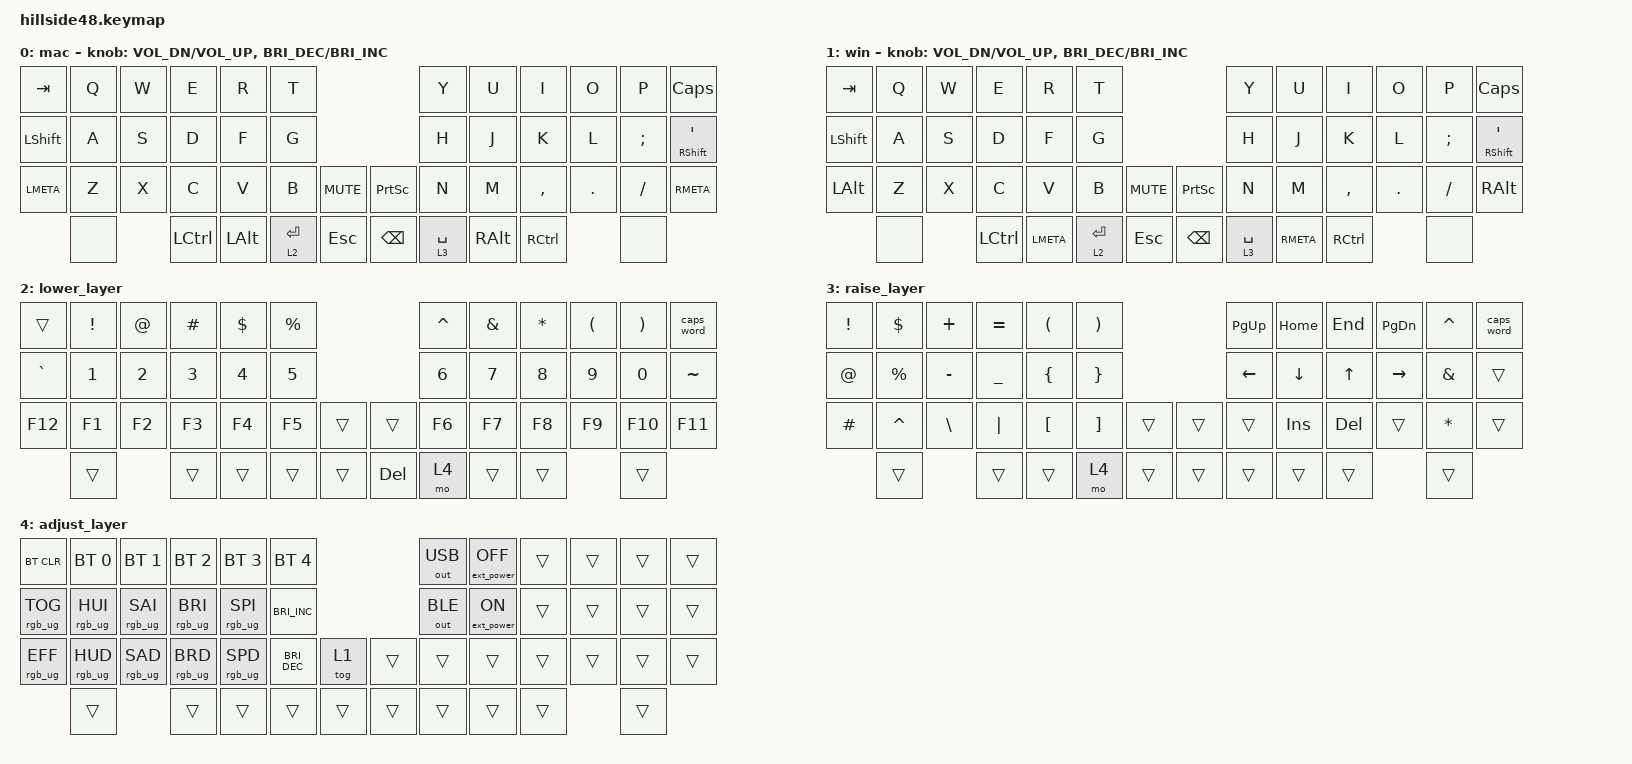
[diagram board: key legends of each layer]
#include <behaviors.dtsi>
#include <dt-bindings/zmk/keys.h>
#include <dt-bindings/zmk/bt.h>
#include <dt-bindings/zmk/ext_power.h>
#include <dt-bindings/zmk/outputs.h>
#include <dt-bindings/zmk/rgb.h>

&lt {
    tapping-term-ms = <120>;
};

&mt {
    tapping-term-ms = <150>;
};

/ {
    //behaviors {
    //    cap_dance: tap_dance_0 {
    //        compatible = "zmk,behavior-tap-dance";
    //        #binding-cells = <0>;
    //        tapping-term-ms = <350>;
    //        bindings = <&caps_word>, <&kp CAPS>;
    //    };
    //};

    keymap {
        compatible = "zmk,keymap";

        mac {
            /*
             * -------------------------------------------------------------------------------------------------------------------------------------
             * | TAB   |   Q   |   W   |   E   |   R   |   T   |-----------------------------------|   Y   |   U   |   I   |   O   |   P   | CAPS  |
             * | LSHIFT|   A   |   S   |   D   |   F   |   G   |-----------------------------------|   H   |   J   |   K   |   L   |   ;   |'(RSHIFT)|
             * | LMETA |   Z   |   X   |   C   |   V   |   B   | MUTE  |-------------------|PRTSCRN|   N   |   M   |   ,   |   .   |   /   | RMETA |
             * --------| none  |---------------| LCTRL | LALT  |RET(LOW)| ESC  |---| BSPC |SPC(RAI)| RALT  | RCTRL |-------| none  |----------------
             *
             * LOWER = layer tap SPACE(LOWER)
             * RAISE = layer tap BKSPC(RAISE)
             * '(RSHIFT) = mod tap QUOTE(SHIFT)
             */
            bindings = <
&kp TAB     &kp Q  &kp W  &kp E      &kp R     &kp T                                 &kp Y        &kp U     &kp I      &kp O    &kp P      &kp CAPS
&kp LSHIFT  &kp A  &kp S  &kp D      &kp F     &kp G                                 &kp H        &kp J     &kp K      &kp L    &kp SEMI   &mt RSHIFT SQT
&kp LMETA   &kp Z  &kp X  &kp C      &kp V     &kp B      &kp C_MUTE      &kp PSCRN  &kp N        &kp M     &kp COMMA  &kp DOT  &kp SLASH  &kp RMETA
            &none         &kp LCTRL  &kp LALT  &lt 2 RET  &kp ESC         &kp BSPC   &lt 3 SPACE  &kp RALT  &kp RCTRL           &none
            >;

            sensor-bindings = <&inc_dec_kp C_VOL_DN C_VOL_UP &inc_dec_kp C_BRI_DEC C_BRI_INC>;
        };

        win {
            /*
             * -------------------------------------------------------------------------------------------------------------------------------------
             * | TAB   |   Q   |   W   |   E   |   R   |   T   |-----------------------------------|   Y   |   U   |   I   |   O   |   P   | CAPS  |
             * | LSHIFT|   A   |   S   |   D   |   F   |   G   |-----------------------------------|   H   |   J   |   K   |   L   |   ;   |'(RSHIFT)|
             * | LALT  |   Z   |   X   |   C   |   V   |   B   |  MUTE  |-----------------|  PSCRN |   N   |   M   |   ,   |   .   |   /   | RALT  |
             * --------| none  |---------------| LCTRL | LMETA |RET(LOW)| ESC  |---| BSPC |SPC(RAI)| RMETA | RCTRL |-------| none  |----------------
             */
            bindings = <
&kp TAB     &kp Q  &kp W  &kp E      &kp R      &kp T                                 &kp Y        &kp U      &kp I      &kp O    &kp P      &kp CAPS
&kp LSHIFT  &kp A  &kp S  &kp D      &kp F      &kp G                                 &kp H        &kp J      &kp K      &kp L    &kp SEMI   &mt RSHIFT SQT
&kp LALT    &kp Z  &kp X  &kp C      &kp V      &kp B      &kp C_MUTE      &kp PSCRN  &kp N        &kp M      &kp COMMA  &kp DOT  &kp SLASH  &kp RALT
            &none         &kp LCTRL  &kp LMETA  &lt 2 RET  &kp ESC         &kp BSPC   &lt 3 SPACE  &kp RMETA  &kp RCTRL           &none
            >;

            sensor-bindings = <&inc_dec_kp C_VOL_DN C_VOL_UP &inc_dec_kp C_BRI_DEC C_BRI_INC>;
        };

        lower_layer {
            /*
             * -------------------------------------------------------------------------------------------------------------------------------------
             * | trans |   !   |   @   |   #   |   $   |   %   |-----------------------------------|   ^   |   &   |   *   |   (   |   )   |CAPWORD|
             * |   `   |   1   |   2   |   3   |   4   |   5   |-----------------------------------|   6   |   7   |   8   |   9   |   0   |   ~   |
             * |  F12  |  F1   |  F2   |  F3   |  F4   |  F5   | trans |-------------------| trans |  F6   |  F7   |  F8   |  F9   |  F10  |  F11  |
             * --------| trans |---------------| trans | trans | trans | trans |----|DELETE| trans | trans | trans |-------| trans |----------------
             */
            bindings = <
&trans    &kp EXCL  &kp AT  &kp HASH  &kp DOLLAR  &kp PRCNT                       &kp CARET  &kp AMPS  &kp ASTRK  &kp LPAR  &kp RPAR  &caps_word
&kp GRAVE &kp N1    &kp N2  &kp N3    &kp N4      &kp N5                          &kp N6     &kp N7    &kp N8     &kp N9    &kp N0    &kp TILDE
&kp F12   &kp F1    &kp F2  &kp F3    &kp F4      &kp F5     &trans       &trans  &kp F6     &kp F7    &kp F8     &kp F9    &kp F10   &kp F11
          &trans            &trans    &trans      &trans     &trans       &kp DEL &mo 4      &trans    &trans               &trans
            >;

            //sensor-bindings = <&trans &inc_dec_kp SCRL_LEFT SCRL_RIGHT>; // Not supported for now
        };

        raise_layer {
            /*
             * -------------------------------------------------------------------------------------------------------------------------------------
             * |   !   |   $   |   +   |   =   |   (   |   )   |-----------------------------------|PG_DOWN| HOME  |  END  | PG_UP |   ^   |CAPWORD|
             * |   @   |   %   |   -   |   _   |   {   |   }   |-----------------------------------| LEFT  | DOWN  |  UP   | RIGHT |   &   | trans |
             * |   #   |   ^   |   \   |   |   |   [   |   ]   | trans |-------------------| trans | trans | INSERT| DELETE| trans |   *   | trans |
             * --------| trans |---------------| trans | trans | trans | trans |---| trans | trans | trans | trans |-------| trans |----------------
             */
            bindings = <
&kp EXCL  &kp DOLLAR  &kp PLUS   &kp EQUAL  &kp LPAR  &kp RPAR                      &kp PG_UP  &kp HOME  &kp END  &kp PG_DN  &kp CARET  &caps_word
&kp AT    &kp PRCNT   &kp MINUS  &kp UNDER  &kp LBRC  &kp RBRC                      &kp LEFT   &kp DOWN  &kp UP   &kp RIGHT  &kp AMPS   &trans
&kp HASH  &kp CARET   &kp BSLH   &kp PIPE   &kp LBKT  &kp RBKT  &trans      &trans  &trans     &kp INS   &kp DEL  &trans     &kp ASTRK  &trans
          &trans                 &trans     &trans    &mo 4     &trans      &trans  &trans     &trans    &trans              &trans
            >;

            //sensor-bindings = <&inc_dec_kp SCRL_UP SCRL_DOWN &trans>; // Not supported for now
        };

        adjust_layer {
            /*
             * ---------------------------------------------------------------------------------------------------------------------------------------
             * | BT_CLR|BT_SEL0|BT_SEL1|BT_SEL2|BT_SEL3| BT_SEL4 |-----------------------------------|OUT_USB| EP_OFF| trans | trans | trans | trans |
             * |RGB_TOG|RGB_HUI|RGB_SAI|RGB_BRI|RGB_SPI|C_BRI_INC|-----------------------------------|OUT_BLE| EP_ON | trans | trans | trans | trans |
             * |RGB_EFF|RGB_HUD|RGB_SAD|RGB_BRD|RGB_SPD|C_BRI_DEC| TOG 0 |-------------------| trans | trans | trans | trans | trans | trans | trans |
             * --------| trans |---------------| trans |  trans  | trans | trans |---| trans | trans | trans | trans |-------| trans |----------------
             */
            bindings = <
&bt BT_CLR       &bt BT_SEL 0     &bt BT_SEL 1     &bt BT_SEL 2     &bt BT_SEL 3     &bt BT_SEL 4                       &out OUT_USB  &ext_power EP_OFF  &trans  &trans  &trans  &trans
&rgb_ug RGB_TOG  &rgb_ug RGB_HUI  &rgb_ug RGB_SAI  &rgb_ug RGB_BRI  &rgb_ug RGB_SPI  &kp C_BRI_INC                      &out OUT_BLE  &ext_power EP_ON   &trans  &trans  &trans  &trans
&rgb_ug RGB_EFF  &rgb_ug RGB_HUD  &rgb_ug RGB_SAD  &rgb_ug RGB_BRD  &rgb_ug RGB_SPD  &kp C_BRI_DEC  &tog 1      &trans  &trans        &trans             &trans  &trans  &trans  &trans
                 &trans                            &trans           &trans           &trans         &trans      &trans  &trans        &trans             &trans          &trans
            >;

            //sensor-bindings = <&trans &trans>;
        };
    };
};
